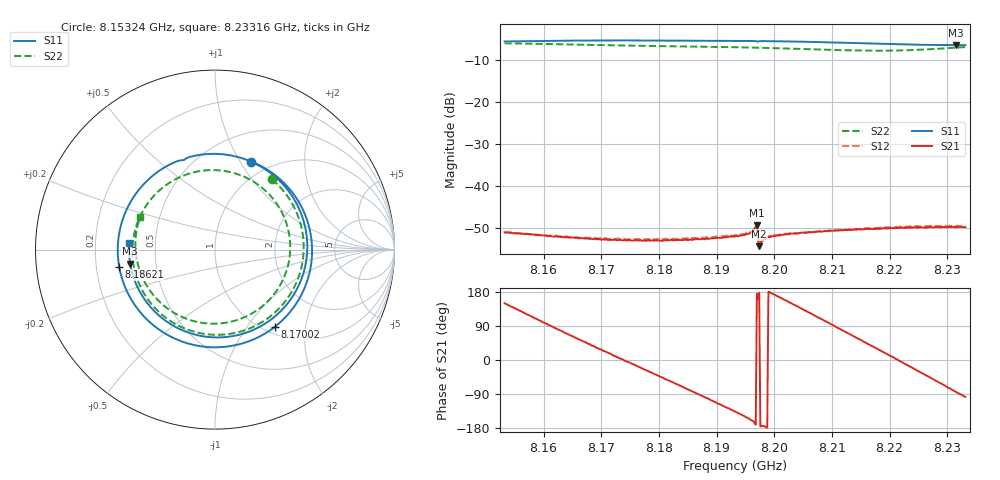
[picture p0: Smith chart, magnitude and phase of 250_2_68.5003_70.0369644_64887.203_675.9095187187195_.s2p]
#  HZ  S  RI  R  50.00
! Rohde & Schwarz Vector Network Analyzer
! Rohde-Schwarz,ZNB20-2Port,1311601062101988,3.16
! Created: UTC 3/20/2024, 4:59:49 PM
! freq[Hz]  re:S11  im:S11  re:S21  im:S21  re:S12  im:S12  re:S22  im:S22
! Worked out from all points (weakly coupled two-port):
!   401 points, 8.15324 GHz to 8.23316 GHz, reference 50 ohm
!   highest |S21| = -49.37 dB at 8.197 GHz (marker M1); lowest = -54.3 dB at 8.1974 GHz (marker M2)
!   lowest |S11| = -6.4 dB at 8.23156 GHz (marker M3), VSWR 2.84, Z = 17.7 - j3.64 ohm
!   |S11| at or under -10 dB: nowhere
!   |S22| runs from -7.7 to -6.0 dB; largest |S21 - S12| = 0.00025
!   S11 on the Smith chart (normalised r, x): 8.15324 GHz: 0.82, +1.11; 8.17002 GHz: 1.12, -1.37; 8.18621 GHz: 0.30, -0.08; 8.23316 GHz: 0.35, +0.03
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8.15324e9  0.2 0.4905  -0.00243 0.00141  -0.00242 0.00143  0.3174 0.3916
8.160233e9  0.5142 0.1611  -0.00034 0.00254  -0.00037 0.00256  0.4943 0.012
8.166626e9  0.4791 -0.256  0.0015 0.00187  0.00154 0.00188  0.353 -0.3321
8.170023e9  0.3328 -0.4307  0.00203 0.00105  0.00213 0.00109  0.1888 -0.4408
8.175018e9  0.0178 -0.5441  0.00226 -0.000295  0.0023 -0.000297  -0.093 -0.4634
8.180013e9  -0.3066 -0.4492  0.00167 -0.00151  0.00169 -0.00157  -0.3348 -0.3252
8.186207e9  -0.5335 -0.097  0.00017 -0.00231  0.000112 -0.00241  -0.4603 -0.0119
8.189603e9  -0.523 0.1384  -0.000823 -0.00225  -0.000916 -0.00231  -0.4234 0.1718
8.1932e9  -0.4033 0.3579  -0.0018 -0.00175  -0.00194 -0.00174  -0.3066 0.3327
8.196596e9  -0.2065 0.4939  -0.003 -0.000754  -0.00306 -0.000716  -0.1413 0.4243
8.196996e9  -0.1778 0.4981  -0.00339 0.000314  -0.00342 0.000446  -0.1195 0.4301
8.197396e9  -0.1602 0.5085  -0.00192 9.27e-05  -0.00194 0.000139  -0.0977 0.4351
8.201791e9  0.1485 0.5098  -0.00246 0.000982  -0.00246 0.00107  0.148 0.412
8.206587e9  0.4189 0.3139  -0.00145 0.00245  -0.0014 0.00248  0.3573 0.2349
8.209783e9  0.5064 0.1054  -0.000238 0.00293  -0.000189 0.00295  0.4172 0.055
8.21298e9  0.4955 -0.1216  0.00107 0.00282  0.00112 0.0028  0.3916 -0.1376
8.216177e9  0.3858 -0.322  0.00226 0.0021  0.00231 0.00209  0.2789 -0.3025
8.219973e9  0.157 -0.4682  0.00307 0.000671  0.00316 0.000549  0.0589 -0.4076
8.225368e9  -0.2215 -0.4302  0.00272 -0.00174  0.00272 -0.00185  -0.2823 -0.3144
8.228565e9  -0.3922 -0.2775  0.00165 -0.00276  0.00157 -0.00299  -0.4117 -0.1371
8.231562e9  -0.4725 -0.0792  0.000298 -0.00321  0.000158 -0.00334  -0.4419 0.069
8.23316e9  -0.4781 0.0347  -0.000418 -0.00322  -0.000652 -0.00327  -0.418 0.179
